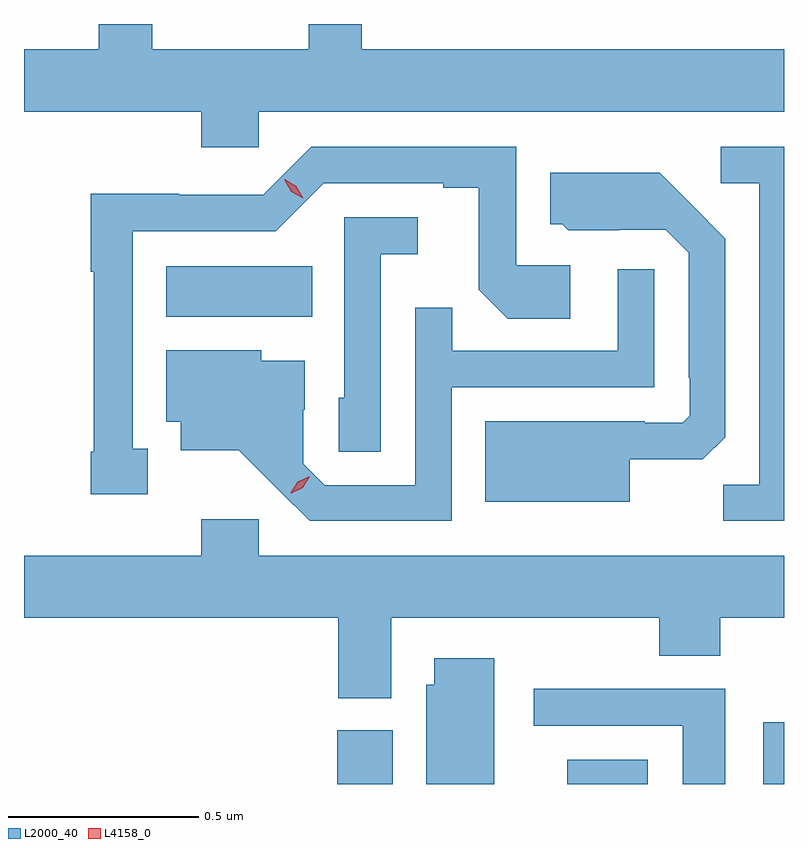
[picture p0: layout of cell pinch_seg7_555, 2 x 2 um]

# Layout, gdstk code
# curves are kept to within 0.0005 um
import gdstk
lib = gdstk.Library(unit=1e-6, precision=1e-09)
def R(c, l, rs):  # rectangles x0, y0, x1, y1
    for r in rs: c.add(gdstk.rectangle(r[:2], r[2:], *l))
def P(c, l, *ps):  # polygons
    for p in ps: c.add(gdstk.Polygon(p, *l))
L2000_40 = (2000, 40)
L4158_0 = (4158, 0)

pinch_seg7_555 = lib.new_cell('pinch_seg7_555')
R(pinch_seg7_555, L2000_40, [(132.716,1060.119,132.862,1060.26), (133.322,1060.119,133.534,1060.183), (133.838,1060.119,133.892,1060.282), (132.266,1061.348,132.65,1061.482)])
P(pinch_seg7_555, L2000_40, [(132.51,1061.888),(133.892,1061.888),(133.892,1062.052),(132.781,1062.052),(132.781,1062.119),(132.641,1062.119),(132.641,1062.052),(132.229,1062.052),(132.229,1062.119),(132.089,1062.119),(132.089,1062.052),(131.892,1062.052),(131.892,1061.888),(132.359,1061.888),(132.359,1061.795),(132.51,1061.795)],
  [(132.217,1061.001),(132.178,1061.001),(132.178,1061.574),(132.555,1061.574),(132.681,1061.7),(132.995,1061.7),(132.995,1061.688),(133.089,1061.688),(133.089,1061.42),(133.165,1061.344),(133.33,1061.344),(133.33,1061.484),(133.188,1061.484),(133.188,1061.796),(132.648,1061.796),(132.522,1061.67),(132.3,1061.67),(132.3,1061.672),(132.067,1061.672),(132.067,1061.467),(132.075,1061.467),(132.075,1060.993),(132.067,1060.993),(132.067,1060.881),(132.217,1060.881)],
  [(133.892,1061.796),(133.725,1061.796),(133.725,1061.7),(133.827,1061.7),(133.827,1060.907),(133.732,1060.907),(133.732,1060.812),(133.892,1060.812)],
  [(133.486,1060.973),(133.678,1060.973),(133.737,1061.032),(133.737,1061.554),(133.565,1061.728),(133.277,1061.728),(133.277,1061.592),(133.308,1061.592),(133.324,1061.576),(133.458,1061.576),(133.458,1061.577),(133.581,1061.577),(133.641,1061.517),(133.641,1061.188),(133.644,1061.188),(133.644,1061.088),(133.626,1061.07),(133.526,1061.07),(133.526,1061.074),(133.106,1061.074),(133.106,1060.862),(133.486,1060.862)],
  [(132.831,1061.513),(132.928,1061.513),(132.928,1061.61),(132.735,1061.61),(132.735,1061.136),(132.72,1061.136),(132.72,1060.993),(132.831,1060.993)],
  [(133.017,1061.163),(133.551,1061.163),(133.551,1061.473),(133.455,1061.473),(133.455,1061.259),(133.019,1061.259),(133.019,1061.372),(132.921,1061.372),(132.921,1060.905),(132.684,1060.905),(132.627,1060.962),(132.627,1061.104),(132.631,1061.104),(132.631,1061.233),(132.516,1061.233),(132.516,1061.26),(132.266,1061.26),(132.266,1061.072),(132.305,1061.072),(132.305,1060.997),(132.457,1060.997),(132.644,1060.812),(133.017,1060.812)],
  [(132.859,1060.556),(133.564,1060.556),(133.564,1060.457),(133.724,1060.457),(133.724,1060.556),(133.892,1060.556),(133.892,1060.72),(132.51,1060.72),(132.51,1060.816),(132.359,1060.816),(132.359,1060.72),(131.892,1060.72),(131.892,1060.556),(132.719,1060.556),(132.719,1060.345),(132.859,1060.345)],
  [(133.129,1060.45),(132.971,1060.45),(132.971,1060.38),(132.95,1060.38),(132.95,1060.119),(133.129,1060.119)],
  [(133.738,1060.37),(133.233,1060.37),(133.233,1060.272),(133.625,1060.272),(133.625,1060.119),(133.738,1060.119)])
P(pinch_seg7_555, L4158_0, [(132.627,1061.66),(132.595,1061.678),(132.577,1061.71),(132.577,1061.711),(132.578,1061.711),(132.609,1061.692),(132.627,1061.66),(132.627,1061.66)],
  [(132.594,1060.884),(132.594,1060.885),(132.612,1060.914),(132.644,1060.929),(132.644,1060.929),(132.644,1060.929),(132.626,1060.899),(132.595,1060.884)])

lib.write_gds('pinch_seg7_555.gds')
